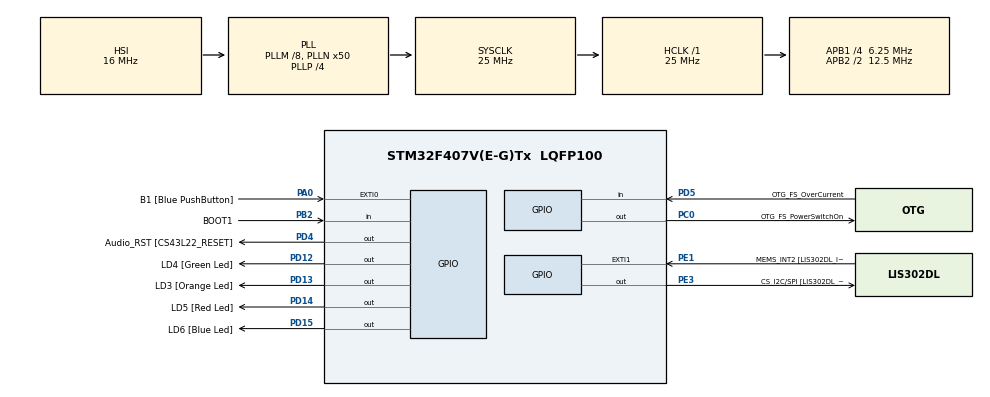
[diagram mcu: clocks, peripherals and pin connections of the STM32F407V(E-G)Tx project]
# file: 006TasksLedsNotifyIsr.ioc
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Mcu.Family=STM32F4
Mcu.Name=STM32F407V(E-G)Tx
Mcu.Package=LQFP100
NVIC.EXTI0_IRQn=true\:10\:0\:true\:false\:true\:true\:true
NVIC.PriorityGroup=NVIC_PRIORITYGROUP_4
NVIC.TIM8_TRG_COM_TIM14_IRQn=true\:0\:0\:false\:false\:true\:false\:true
NVIC.TimeBase=TIM8_TRG_COM_TIM14_IRQn
NVIC.TimeBaseIP=TIM14
PA0-WKUP.GPIO_Label=B1 [Blue PushButton]
PA0-WKUP.Signal=GPXTI0
PA10.GPIO_Label=OTG_FS_ID
PA10.GPIO_Mode=GPIO_MODE_AF_PP
PA10.GPIO_PuPd=GPIO_NOPULL
PA10.GPIO_Speed=GPIO_SPEED_FREQ_LOW
PA10.Signal=USB_OTG_FS_ID
PA11.GPIO_Label=OTG_FS_DM
PA11.GPIO_Mode=GPIO_MODE_AF_PP
PA11.GPIO_PuPd=GPIO_NOPULL
PA11.GPIO_Speed=GPIO_SPEED_FREQ_LOW
PA11.Signal=USB_OTG_FS_DM
PA12.GPIO_Label=OTG_FS_DP
PA12.GPIO_Mode=GPIO_MODE_AF_PP
PA12.GPIO_PuPd=GPIO_NOPULL
PA12.GPIO_Speed=GPIO_SPEED_FREQ_LOW
PA12.Signal=USB_OTG_FS_DP
PA13.GPIO_Label=SWDIO
PA13.Signal=SYS_JTMS-SWDIO
PA14.GPIO_Label=SWCLK
PA14.Signal=SYS_JTCK-SWCLK
PA4.GPIO_Label=I2S3_WS [CS43L22_LRCK]
PA4.GPIO_Mode=GPIO_MODE_AF_PP
PA4.GPIO_PuPd=GPIO_NOPULL
PA4.GPIO_Speed=GPIO_SPEED_FREQ_LOW
PA4.Signal=I2S3_WS
PA5.GPIO_Label=SPI1_SCK [LIS302DL_SCL/SPC]
PA5.GPIO_Mode=GPIO_MODE_AF_PP
PA5.GPIO_PuPd=GPIO_NOPULL
PA5.GPIO_Speed=GPIO_SPEED_FREQ_LOW
PA5.Signal=SPI1_SCK
PA6.GPIO_Label=SPI1_MISO [LIS302DL_SDO]
PA6.GPIO_Mode=GPIO_MODE_AF_PP
PA6.GPIO_PuPd=GPIO_NOPULL
PA6.GPIO_Speed=GPIO_SPEED_FREQ_LOW
PA6.Signal=SPI1_MISO
PA7.GPIO_Label=SPI1_MOSI [LIS302DL_SDA/SDI/SDO]
PA7.GPIO_Mode=GPIO_MODE_AF_PP
PA7.GPIO_PuPd=GPIO_NOPULL
PA7.GPIO_Speed=GPIO_SPEED_FREQ_LOW
PA7.Signal=SPI1_MOSI
PA9.GPIO_Label=VBUS_FS
PA9.GPIO_Mode=GPIO_MODE_INPUT
PA9.GPIO_PuPd=GPIO_NOPULL
PA9.Signal=USB_OTG_FS_VBUS
PB10.GPIO_Label=CLK_IN [MP45DT02_CLK]
PB10.GPIO_Mode=GPIO_MODE_AF_PP
PB10.GPIO_PuPd=GPIO_NOPULL
PB10.GPIO_Speed=GPIO_SPEED_FREQ_LOW
PB10.Signal=I2S2_CK
PB2.GPIO_Label=BOOT1
PB2.GPIO_Mode=GPIO_MODE_INPUT
PB2.GPIO_PuPd=GPIO_NOPULL
PB2.Signal=GPIO_Input
PB3.GPIO_Label=SWO
PB3.Signal=SYS_JTDO-SWO
PB6.GPIO_Label=Audio_SCL [CS43L22_SCL]
PB6.GPIO_Mode=GPIO_MODE_AF_OD
PB6.GPIO_PuPd=GPIO_NOPULL
PB6.GPIO_Speed=GPIO_SPEED_FREQ_LOW
PB6.Signal=I2C1_SCL
PB9.GPIO_Label=Audio_SDA [CS43L22_SDA]
PB9.GPIO_Mode=GPIO_MODE_AF_OD
PB9.GPIO_PuPd=GPIO_NOPULL
PB9.GPIO_Speed=GPIO_SPEED_FREQ_LOW
PB9.Signal=I2C1_SDA
PC0.GPIO_Label=OTG_FS_PowerSwitchOn
PC0.GPIO_PuPd=GPIO_NOPULL
PC0.GPIO_Speed=GPIO_SPEED_FREQ_LOW
PC0.PinState=GPIO_PIN_SET
PC0.Signal=GPIO_Output
PC10.GPIO_Label=I2S3_SCK [CS43L22_SCLK]
PC10.GPIO_Mode=GPIO_MODE_AF_PP
PC10.GPIO_PuPd=GPIO_NOPULL
PC10.GPIO_Speed=GPIO_SPEED_FREQ_LOW
PC10.Signal=I2S3_CK
PC12.GPIO_Label=I2S3_SD [CS43L22_SDIN]
PC12.GPIO_Mode=GPIO_MODE_AF_PP
PC12.GPIO_PuPd=GPIO_NOPULL
PC12.GPIO_Speed=GPIO_SPEED_FREQ_LOW
PC12.Signal=I2S3_SD
PC14-OSC32_IN.GPIO_Label=PC14-OSC32_IN
PC14-OSC32_IN.Signal=RCC_OSC32_IN
PC15-OSC32_OUT.GPIO_Label=PC15-OSC32_OUT
PC15-OSC32_OUT.Signal=RCC_OSC32_OUT
PC3.GPIO_Label=PDM_OUT [MP45DT02_DOUT]
PC3.GPIO_Mode=GPIO_MODE_AF_PP
PC3.GPIO_PuPd=GPIO_NOPULL
PC3.GPIO_Speed=GPIO_SPEED_FREQ_LOW
PC3.Signal=I2S2_SD
PC7.GPIO_Label=I2S3_MCK [CS43L22_MCLK]
PC7.GPIO_Mode=GPIO_MODE_AF_PP
PC7.GPIO_PuPd=GPIO_NOPULL
PC7.GPIO_Speed=GPIO_SPEED_FREQ_LOW
PC7.Signal=I2S3_MCK
PD12.GPIO_Label=LD4 [Green Led]
PD12.GPIO_PuPd=GPIO_NOPULL
PD12.GPIO_Speed=GPIO_SPEED_FREQ_LOW
PD12.Signal=GPIO_Output
PD13.GPIO_Label=LD3 [Orange Led]
PD13.GPIO_PuPd=GPIO_NOPULL
PD13.GPIO_Speed=GPIO_SPEED_FREQ_LOW
PD13.Signal=GPIO_Output
PD14.GPIO_Label=LD5 [Red Led]
PD14.GPIO_PuPd=GPIO_NOPULL
PD14.GPIO_Speed=GPIO_SPEED_FREQ_LOW
PD14.Signal=GPIO_Output
PD15.GPIO_Label=LD6 [Blue Led]
PD15.GPIO_PuPd=GPIO_NOPULL
PD15.GPIO_Speed=GPIO_SPEED_FREQ_LOW
PD15.Signal=GPIO_Output
PD4.GPIO_Label=Audio_RST [CS43L22_RESET]
PD4.GPIO_PuPd=GPIO_NOPULL
PD4.GPIO_Speed=GPIO_SPEED_FREQ_LOW
PD4.Signal=GPIO_Output
PD5.GPIO_Label=OTG_FS_OverCurrent
PD5.GPIO_Mode=GPIO_MODE_INPUT
PD5.GPIO_PuPd=GPIO_NOPULL
PD5.Signal=GPIO_Input
PE1.GPIO_Label=MEMS_INT2 [LIS302DL_INT2]
PE1.GPIO_ModeDefaultEXTI=GPIO_MODE_EVT_RISING
PE1.GPIO_PuPd=GPIO_NOPULL
PE1.Signal=GPXTI1
PE3.GPIO_Label=CS_I2C/SPI [LIS302DL_CS_I2C/SPI]
PE3.GPIO_PuPd=GPIO_NOPULL
PE3.GPIO_Speed=GPIO_SPEED_FREQ_LOW
PE3.Signal=GPIO_Output
PH0-OSC_IN.GPIO_Label=PH0-OSC_IN
PH0-OSC_IN.Signal=RCC_OSC_IN
PH1-OSC_OUT.GPIO_Label=PH1-OSC_OUT
PH1-OSC_OUT.Signal=RCC_OSC_OUT
ProjectManager.HeapSize=0x200
ProjectManager.StackSize=0x400
ProjectManager.TargetToolchain=STM32CubeIDE
RCC.48MHZClocksFreq_Value=14285714.285714285
RCC.AHBFreq_Value=25000000
RCC.APB1CLKDivider=RCC_HCLK_DIV4
RCC.APB1Freq_Value=6250000
RCC.APB1TimFreq_Value=12500000
RCC.APB2CLKDivider=RCC_HCLK_DIV2
RCC.APB2Freq_Value=12500000
RCC.APB2TimFreq_Value=25000000
RCC.CortexFreq_Value=25000000
RCC.HCLKFreq_Value=25000000
RCC.HSE_VALUE=8000000
RCC.HSI_VALUE=16000000
RCC.LSE_VALUE=32768
RCC.PLLM=8
RCC.PLLN=50
RCC.PLLP=RCC_PLLP_DIV4
RCC.PLLQ=7
RCC.SYSCLKFreq_VALUE=25000000
RCC.SYSCLKSource=RCC_SYSCLKSOURCE_PLLCLK
RCC.VCOOutputFreq_Value=100000000
VP_SYS_VS_tim14.Mode=TIM14
board=STM32F407G-DISC1

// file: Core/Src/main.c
/* USER CODE BEGIN Header */
/**
  ******************************************************************************
  * @file           : main.c
  * @brief          : Main program body
  ******************************************************************************
  * @attention
  *
  * Copyright (c) 2022 STMicroelectronics.
  * All rights reserved.
  *
  * This software is licensed under terms that can be found in the LICENSE file
  * in the root directory of this software component.
  * If no LICENSE file comes with this software, it is provided AS-IS.
  *
  ******************************************************************************
  */
/* USER CODE END Header */
#include "main.h"

/* USER CODE BEGIN Includes */
#include "FreeRTOS.h"
#include "task.h"
#include <stdio.h>

/* USER CODE END Includes */

/* USER CODE BEGIN PV */
#define DWT_CTRL (*(volatile uint32_t*)	0xE0001000)

/* USER CODE END PV */

void SystemClock_Config(void);
static void MX_GPIO_Init(void);
/* USER CODE BEGIN PFP */
void led_green_handler(void* parameters);
void led_orange_handler(void* parameters);
void led_red_handler(void* parameters);
void led_blue_handler(void* parameters);
void user_button_interrupt_handler(void);

TaskHandle_t task1_handle;
TaskHandle_t task2_handle;
TaskHandle_t task3_handle;
TaskHandle_t task4_handle;
TaskHandle_t task5_handle;

TaskHandle_t  volatile next_task_handle = NULL;

/* USER CODE END PFP */

int main(void)
{
  /* USER CODE BEGIN 1 */

	BaseType_t status;
  /* USER CODE END 1 */

  /* MCU Configuration--------------------------------------------------------*/

  /* Reset of all peripherals, Initializes the Flash interface and the Systick. */
  HAL_Init();

  /* Configure the system clock */
  SystemClock_Config();

  /* Initialize all configured peripherals */
  MX_GPIO_Init();
  /* USER CODE BEGIN 2 */

  DWT_CTRL |= (1<<0);

  SEGGER_SYSVIEW_Conf();

  SEGGER_SYSVIEW_Start();

  status = xTaskCreate(led_green_handler, "Led Green Task", 200, NULL, 2, &task1_handle);

  configASSERT(status==pdPASS);

  next_task_handle= task1_handle;

  status = xTaskCreate(led_orange_handler, "Led Orange Task", 200, NULL, 2, &task2_handle);

  configASSERT(status==pdPASS);

  status = xTaskCreate(led_red_handler, "Led Red Task", 200, NULL, 2, &task3_handle);

  configASSERT(status==pdPASS);

  status = xTaskCreate(led_blue_handler, "Led Blue Task", 200, NULL, 2, &task4_handle);

  configASSERT(status==pdPASS);

  vTaskStartScheduler();
  /* USER CODE END 2 */

  /* Infinite loop */
  while (1)
  {

  }
}

void SystemClock_Config(void)
{
  RCC_OscInitTypeDef RCC_OscInitStruct = {0};
  RCC_ClkInitTypeDef RCC_ClkInitStruct = {0};

  /** Configure the main internal regulator output voltage
  */
  __HAL_RCC_PWR_CLK_ENABLE();
  __HAL_PWR_VOLTAGESCALING_CONFIG(PWR_REGULATOR_VOLTAGE_SCALE1);
  /** Initializes the RCC Oscillators according to the specified parameters
  * in the RCC_OscInitTypeDef structure.
  */
  RCC_OscInitStruct.OscillatorType = RCC_OSCILLATORTYPE_HSI;
  RCC_OscInitStruct.HSIState = RCC_HSI_ON;
  RCC_OscInitStruct.HSICalibrationValue = RCC_HSICALIBRATION_DEFAULT;
  RCC_OscInitStruct.PLL.PLLState = RCC_PLL_ON;
  RCC_OscInitStruct.PLL.PLLSource = RCC_PLLSOURCE_HSI;
  RCC_OscInitStruct.PLL.PLLM = 8;
  RCC_OscInitStruct.PLL.PLLN = 50;
  RCC_OscInitStruct.PLL.PLLP = RCC_PLLP_DIV4;
  RCC_OscInitStruct.PLL.PLLQ = 7;
  if (HAL_RCC_OscConfig(&RCC_OscInitStruct) != HAL_OK)
  {
    Error_Handler();
  }
  /** Initializes the CPU, AHB and APB buses clocks
  */
  RCC_ClkInitStruct.ClockType = RCC_CLOCKTYPE_HCLK|RCC_CLOCKTYPE_SYSCLK
                              |RCC_CLOCKTYPE_PCLK1|RCC_CLOCKTYPE_PCLK2;
  RCC_ClkInitStruct.SYSCLKSource = RCC_SYSCLKSOURCE_PLLCLK;
  RCC_ClkInitStruct.AHBCLKDivider = RCC_SYSCLK_DIV1;
  RCC_ClkInitStruct.APB1CLKDivider = RCC_HCLK_DIV4;
  RCC_ClkInitStruct.APB2CLKDivider = RCC_HCLK_DIV2;

  if (HAL_RCC_ClockConfig(&RCC_ClkInitStruct, FLASH_LATENCY_0) != HAL_OK)
  {
    Error_Handler();
  }
}

static void MX_GPIO_Init(void)
{
  GPIO_InitTypeDef GPIO_InitStruct = {0};

  /* GPIO Ports Clock Enable */
  __HAL_RCC_GPIOE_CLK_ENABLE();
  __HAL_RCC_GPIOC_CLK_ENABLE();
  __HAL_RCC_GPIOH_CLK_ENABLE();
  __HAL_RCC_GPIOA_CLK_ENABLE();
  __HAL_RCC_GPIOB_CLK_ENABLE();
  __HAL_RCC_GPIOD_CLK_ENABLE();

  /*Configure GPIO pin Output Level */
  HAL_GPIO_WritePin(CS_I2C_SPI_GPIO_Port, CS_I2C_SPI_Pin, GPIO_PIN_RESET);

  /*Configure GPIO pin Output Level */
  HAL_GPIO_WritePin(OTG_FS_PowerSwitchOn_GPIO_Port, OTG_FS_PowerSwitchOn_Pin, GPIO_PIN_SET);

  /*Configure GPIO pin Output Level */
  HAL_GPIO_WritePin(GPIOD, LD4_Pin|LD3_Pin|LD5_Pin|LD6_Pin
                          |Audio_RST_Pin, GPIO_PIN_RESET);

  /*Configure GPIO pin : CS_I2C_SPI_Pin */
  GPIO_InitStruct.Pin = CS_I2C_SPI_Pin;
  GPIO_InitStruct.Mode = GPIO_MODE_OUTPUT_PP;
  GPIO_InitStruct.Pull = GPIO_NOPULL;
  GPIO_InitStruct.Speed = GPIO_SPEED_FREQ_LOW;
  HAL_GPIO_Init(CS_I2C_SPI_GPIO_Port, &GPIO_InitStruct);

  /*Configure GPIO pin : OTG_FS_PowerSwitchOn_Pin */
  GPIO_InitStruct.Pin = OTG_FS_PowerSwitchOn_Pin;
  GPIO_InitStruct.Mode = GPIO_MODE_OUTPUT_PP;
  GPIO_InitStruct.Pull = GPIO_NOPULL;
  GPIO_InitStruct.Speed = GPIO_SPEED_FREQ_LOW;
  HAL_GPIO_Init(OTG_FS_PowerSwitchOn_GPIO_Port, &GPIO_InitStruct);

  /*Configure GPIO pin : PDM_OUT_Pin */
  GPIO_InitStruct.Pin = PDM_OUT_Pin;
  GPIO_InitStruct.Mode = GPIO_MODE_AF_PP;
  GPIO_InitStruct.Pull = GPIO_NOPULL;
  GPIO_InitStruct.Speed = GPIO_SPEED_FREQ_LOW;
  GPIO_InitStruct.Alternate = GPIO_AF5_SPI2;
  HAL_GPIO_Init(PDM_OUT_GPIO_Port, &GPIO_InitStruct);

  /*Configure GPIO pin : B1_Pin */
  GPIO_InitStruct.Pin = B1_Pin;
  GPIO_InitStruct.Mode = GPIO_MODE_IT_RISING;
  GPIO_InitStruct.Pull = GPIO_NOPULL;
  HAL_GPIO_Init(B1_GPIO_Port, &GPIO_InitStruct);

  /*Configure GPIO pin : I2S3_WS_Pin */
  GPIO_InitStruct.Pin = I2S3_WS_Pin;
  GPIO_InitStruct.Mode = GPIO_MODE_AF_PP;
  GPIO_InitStruct.Pull = GPIO_NOPULL;
  GPIO_InitStruct.Speed = GPIO_SPEED_FREQ_LOW;
  GPIO_InitStruct.Alternate = GPIO_AF6_SPI3;
  HAL_GPIO_Init(I2S3_WS_GPIO_Port, &GPIO_InitStruct);

  /*Configure GPIO pins : SPI1_SCK_Pin SPI1_MISO_Pin SPI1_MOSI_Pin */
  GPIO_InitStruct.Pin = SPI1_SCK_Pin|SPI1_MISO_Pin|SPI1_MOSI_Pin;
  GPIO_InitStruct.Mode = GPIO_MODE_AF_PP;
  GPIO_InitStruct.Pull = GPIO_NOPULL;
  GPIO_InitStruct.Speed = GPIO_SPEED_FREQ_LOW;
  GPIO_InitStruct.Alternate = GPIO_AF5_SPI1;
  HAL_GPIO_Init(GPIOA, &GPIO_InitStruct);

  /*Configure GPIO pin : BOOT1_Pin */
  GPIO_InitStruct.Pin = BOOT1_Pin;
  GPIO_InitStruct.Mode = GPIO_MODE_INPUT;
  GPIO_InitStruct.Pull = GPIO_NOPULL;
  HAL_GPIO_Init(BOOT1_GPIO_Port, &GPIO_InitStruct);

  /*Configure GPIO pin : CLK_IN_Pin */
  GPIO_InitStruct.Pin = CLK_IN_Pin;
  GPIO_InitStruct.Mode = GPIO_MODE_AF_PP;
  GPIO_InitStruct.Pull = GPIO_NOPULL;
  GPIO_InitStruct.Speed = GPIO_SPEED_FREQ_LOW;
  GPIO_InitStruct.Alternate = GPIO_AF5_SPI2;
  HAL_GPIO_Init(CLK_IN_GPIO_Port, &GPIO_InitStruct);

  /*Configure GPIO pins : LD4_Pin LD3_Pin LD5_Pin LD6_Pin
                           Audio_RST_Pin */
  GPIO_InitStruct.Pin = LD4_Pin|LD3_Pin|LD5_Pin|LD6_Pin
                          |Audio_RST_Pin;
  GPIO_InitStruct.Mode = GPIO_MODE_OUTPUT_PP;
  GPIO_InitStruct.Pull = GPIO_NOPULL;
  GPIO_InitStruct.Speed = GPIO_SPEED_FREQ_LOW;
  HAL_GPIO_Init(GPIOD, &GPIO_InitStruct);

  /*Configure GPIO pins : I2S3_MCK_Pin I2S3_SCK_Pin I2S3_SD_Pin */
  GPIO_InitStruct.Pin = I2S3_MCK_Pin|I2S3_SCK_Pin|I2S3_SD_Pin;
  GPIO_InitStruct.Mode = GPIO_MODE_AF_PP;
  GPIO_InitStruct.Pull = GPIO_NOPULL;
  GPIO_InitStruct.Speed = GPIO_SPEED_FREQ_LOW;
  GPIO_InitStruct.Alternate = GPIO_AF6_SPI3;
  HAL_GPIO_Init(GPIOC, &GPIO_InitStruct);

  /*Configure GPIO pin : VBUS_FS_Pin */
  GPIO_InitStruct.Pin = VBUS_FS_Pin;
  GPIO_InitStruct.Mode = GPIO_MODE_INPUT;
  GPIO_InitStruct.Pull = GPIO_NOPULL;
  HAL_GPIO_Init(VBUS_FS_GPIO_Port, &GPIO_InitStruct);

  /*Configure GPIO pins : OTG_FS_ID_Pin OTG_FS_DM_Pin OTG_FS_DP_Pin */
  GPIO_InitStruct.Pin = OTG_FS_ID_Pin|OTG_FS_DM_Pin|OTG_FS_DP_Pin;
  GPIO_InitStruct.Mode = GPIO_MODE_AF_PP;
  GPIO_InitStruct.Pull = GPIO_NOPULL;
  GPIO_InitStruct.Speed = GPIO_SPEED_FREQ_LOW;
  GPIO_InitStruct.Alternate = GPIO_AF10_OTG_FS;
  HAL_GPIO_Init(GPIOA, &GPIO_InitStruct);

  /*Configure GPIO pin : OTG_FS_OverCurrent_Pin */
  GPIO_InitStruct.Pin = OTG_FS_OverCurrent_Pin;
  GPIO_InitStruct.Mode = GPIO_MODE_INPUT;
  GPIO_InitStruct.Pull = GPIO_NOPULL;
  HAL_GPIO_Init(OTG_FS_OverCurrent_GPIO_Port, &GPIO_InitStruct);

  /*Configure GPIO pins : Audio_SCL_Pin Audio_SDA_Pin */
  GPIO_InitStruct.Pin = Audio_SCL_Pin|Audio_SDA_Pin;
  GPIO_InitStruct.Mode = GPIO_MODE_AF_OD;
  GPIO_InitStruct.Pull = GPIO_NOPULL;
  GPIO_InitStruct.Speed = GPIO_SPEED_FREQ_LOW;
  GPIO_InitStruct.Alternate = GPIO_AF4_I2C1;
  HAL_GPIO_Init(GPIOB, &GPIO_InitStruct);

  /*Configure GPIO pin : MEMS_INT2_Pin */
  GPIO_InitStruct.Pin = MEMS_INT2_Pin;
  GPIO_InitStruct.Mode = GPIO_MODE_EVT_RISING;
  GPIO_InitStruct.Pull = GPIO_NOPULL;
  HAL_GPIO_Init(MEMS_INT2_GPIO_Port, &GPIO_InitStruct);

  /* EXTI interrupt init*/
  HAL_NVIC_SetPriority(EXTI0_IRQn, 10, 0);
  HAL_NVIC_EnableIRQ(EXTI0_IRQn);

}

/* USER CODE BEGIN 4 */
void led_green_handler(void* parameters)
{
	BaseType_t status;
	while(1)
	{
		HAL_GPIO_TogglePin(GPIOD, LD4_Pin);
		SEGGER_SYSVIEW_PrintfTarget("Green Led toggled");
		status = xTaskNotifyWait(0,0,NULL,pdMS_TO_TICKS(1000));
		if(status==pdTRUE)
		{
			portENTER_CRITICAL();
			next_task_handle = task2_handle;
			HAL_GPIO_WritePin(GPIOD, GPIO_PIN_12, GPIO_PIN_SET);
			SEGGER_SYSVIEW_PrintfTarget("Green task delete");
			portEXIT_CRITICAL();
			vTaskDelete(task1_handle);
		}
	}
}
void led_orange_handler(void* parameters)
{
	BaseType_t status;
	while(1)
	{
		HAL_GPIO_TogglePin(GPIOD, LD3_Pin);
		SEGGER_SYSVIEW_PrintfTarget("Orange Led toggled");
		status = xTaskNotifyWait(0,0,NULL,pdMS_TO_TICKS(800));
		if(status==pdTRUE)
		{
			portENTER_CRITICAL();
			next_task_handle = task3_handle;
			HAL_GPIO_WritePin(GPIOD, GPIO_PIN_13, GPIO_PIN_SET);
			SEGGER_SYSVIEW_PrintfTarget("Orange task delete");
			portEXIT_CRITICAL();
			vTaskDelete(task2_handle);
		}
	}
}
void led_red_handler(void* parameters)
{
	BaseType_t status;
	while(1)
	{
		HAL_GPIO_TogglePin(GPIOD, LD5_Pin);
		SEGGER_SYSVIEW_PrintfTarget("Red Led toggled");
		status = xTaskNotifyWait(0,0,NULL,pdMS_TO_TICKS(600));
		if(status==pdTRUE)
		{
			portENTER_CRITICAL();
			next_task_handle = task4_handle;
			HAL_GPIO_WritePin(GPIOD, GPIO_PIN_14, GPIO_PIN_SET);
			SEGGER_SYSVIEW_PrintfTarget("Red task delete");
			portEXIT_CRITICAL();
			vTaskDelete(task3_handle);
		}
	}
}
void led_blue_handler(void* parameters)
{
	BaseType_t status;
	while(1)
	{
		HAL_GPIO_TogglePin(GPIOD, LD6_Pin);
		SEGGER_SYSVIEW_PrintfTarget("Blue Led toggled");
		status = xTaskNotifyWait(0,0,NULL,pdMS_TO_TICKS(400));
		if(status==pdTRUE)
		{
			portENTER_CRITICAL();
			next_task_handle = NULL;
			HAL_GPIO_WritePin(GPIOD, GPIO_PIN_15, GPIO_PIN_SET);
			SEGGER_SYSVIEW_PrintfTarget("Blue task delete");
			portEXIT_CRITICAL();
			vTaskDelete(task5_handle);
			vTaskDelete(task4_handle);
		}
	}
}

void user_button_interrupt_handler(void)
{
	BaseType_t pxHigherPriorityTaskWoken;
	pxHigherPriorityTaskWoken=pdFALSE;
	traceISR_ENTER();//Segger
	xTaskNotifyFromISR(next_task_handle,0,eNoAction,&pxHigherPriorityTaskWoken);
	portYIELD_FROM_ISR(pxHigherPriorityTaskWoken);
	traceISR_EXIT();
}
/* USER CODE END 4 */

void HAL_TIM_PeriodElapsedCallback(TIM_HandleTypeDef *htim)
{
  if (htim->Instance == TIM14) {
    HAL_IncTick();
  }
}

void Error_Handler(void)
{
  __disable_irq();
  while (1)
  {
  }
}
